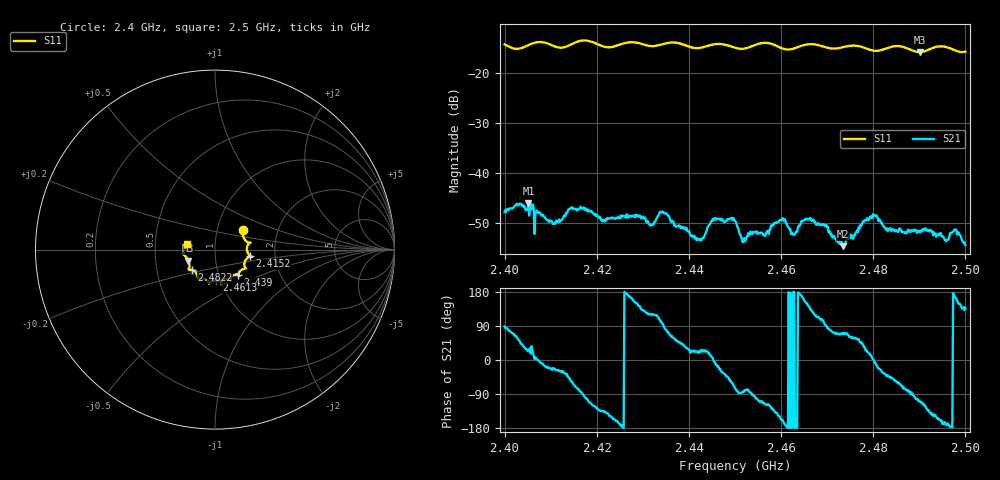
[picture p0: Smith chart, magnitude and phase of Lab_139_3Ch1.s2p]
# Hz S RI R 50
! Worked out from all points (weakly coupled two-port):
!   601 points, 2.4 GHz to 2.5 GHz, reference 50 ohm
!   highest |S21| = -46.05 dB at 2.4052 GHz (marker M1); lowest = -54.6 dB at 2.4735 GHz (marker M2)
!   lowest |S11| = -15.9 dB at 2.4902 GHz (marker M3), VSWR 1.38, Z = 36.8 - j4.61 ohm
!   |S11| at or under -10 dB: start of sweep to end of sweep
!   S12 and S22 are empty: the file has one direction only
!   S11 on the Smith chart (normalised r, x): 2.4 GHz: 1.33, +0.31; 2.4152 GHz: 1.48, -0.11; 2.439 GHz: 1.24, -0.36; 2.4613 GHz: 0.96, -0.34; 2.4822 GHz: 0.76, -0.17; 2.5 GHz: 0.72, +0.05
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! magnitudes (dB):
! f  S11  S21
! 2.4 GHz  -14.4  -47.7
! 2.4052 GHz  -14.5  -46.0
! 2.4108 GHz  -14.7  -49.9
! 2.4152 GHz  -14.0  -47.2
! 2.4167 GHz  -13.6  -47.1
! 2.4215 GHz  -14.8  -49.3
! 2.4333 GHz  -14.5  -48.6
! 2.439 GHz  -14.5  -51.2
! 2.4422 GHz  -15.1  -53.3
! 2.4453 GHz  -14.3  -49.5
! 2.45 GHz  -15.0  -49.6
! 2.4518 GHz  -15.2  -53.6
! 2.4613 GHz  -15.4  -50.5
! 2.4627 GHz  -15.2  -52.3
! 2.4667 GHz  -14.3  -49.6
! 2.4735 GHz  -14.9  -54.6
! 2.4797 GHz  -15.5  -48.6
! 2.4822 GHz  -15.4  -50.6
! 2.4833 GHz  -15.0  -51.3
! 2.4902 GHz  -15.9  -51.8
! 2.498 GHz  -15.6  -51.3
! 2.5 GHz  -15.8  -54.4
